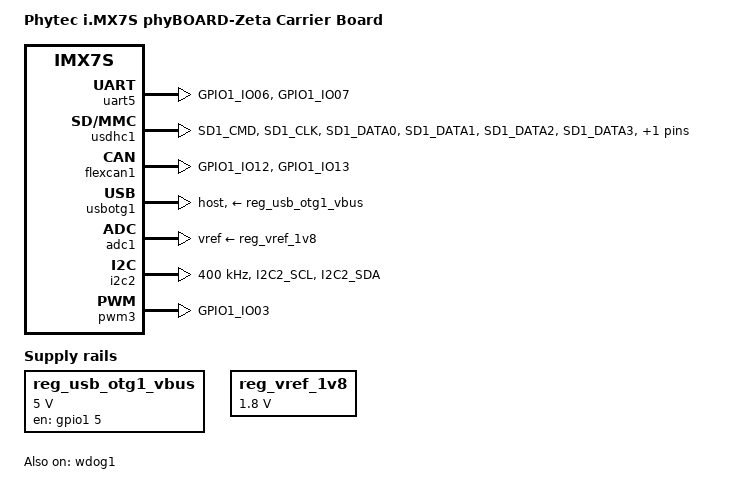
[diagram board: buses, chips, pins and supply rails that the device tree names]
/*
 * Copyright (C) 2015 PHYTEC America, LLC
 *
 * This program is free software; you can redistribute it and/or modify
 * it under the terms of the GNU General Public License version 2 as
 * published by the Free Software Foundation.
 *
 *
 * This file configures the interfaces supported by imx7 Solo on carrier
 * board PBA-C-09.
 *
 */

/ {
	model = "Phytec i.MX7S phyBOARD-Zeta Carrier Board";
	compatible = "phytec,imx7s-pba-c-09", "phytec,imx7-phycore-som", "fsl,imx7s";

	regulators {
		compatible = "simple-bus";
		#address-cells = <1>;
		#size-cells = <0>;

		reg_usb_otg1_vbus: regulator@0 {
			compatible = "regulator-fixed";
			reg = <0>;
			regulator-name = "usb_otg1_vbus";
			regulator-min-microvolt = <5000000>;
			regulator-max-microvolt = <5000000>;
			gpio = <&gpio1 5 GPIO_ACTIVE_HIGH>;
			enable-active-high;
		};

		reg_vref_1v8: regulator@2 {
			compatible = "regulator-fixed";
			reg = <2>;
			regulator-name = "vref-1v8";
			regulator-min-microvolt = <1800000>;
			regulator-max-microvolt = <1800000>;
		};

		/* For display PEB-AV-02 */
		backlight: backlight {
			compatible = "pwm-backlight";
			pwms = <&pwm3 0 5000000>;
			enable-gpios = <&gpio1 1 0>;
			status = "disabled";
		};

		reg_wlan: regulator-wlan {
			compatible = "regulator-fixed";
			pinctrl-names = "default";
			pinctrl-0 = <&pinctrl_wl_reg_on>;
			regulator-name = "wlan";
			gpio = <&gpio4 17 GPIO_ACTIVE_HIGH>;
			status = "disabled";
		};

		reg_bt: regulator-bt {
			compatible = "regulator-fixed";
			pinctrl-names = "default";
			pinctrl-0 = <&pinctrl_bt_reg_on>;
			regulator-name = "bt";
			gpio = <&gpio4 18 GPIO_ACTIVE_HIGH>;
			status = "disabled";
		};

		/* Enable if R9 is populated. Conflicts with userbtn2 on PEB-EVAL-02 */
		/*
		reg_can1_3v3: regulator@2 {
			compatible = "regulator-fixed";
			reg = <2>;
			regulator-name = "can1-3v3";
			regulator-min-microvolt = <3300000>;
			regulator-max-microvolt = <3300000>;
			gpio = <&gpio5 2 GPIO_ACTIVE_HIGH>;
			enable-active-high;
		};
		*/
	};
};

&iomuxc {
	pinctrl-names = "default";
	pinctrl-0 = <&pinctrl_hog_1 &pinctrl_hog_2 &pinctrl_hog_lcd>;

	imx7d-phycore {
		pinctrl_hog_2: hoggrp-2 {
			fsl,pins = <
				MX7D_PAD_SD1_CD_B__GPIO5_IO0		0x59 /* SD1 CD */
				MX7D_PAD_EPDC_DATA10__GPIO2_IO10	0x59 /* User Button */
				MX7D_PAD_EPDC_DATA13__GPIO2_IO13	0x39 /* Boot Circuit Buffer Enable
										5K pull-up  */
			>;
		};

		pinctrl_usdhc1: usdhc1grp {
			fsl,pins = <
				MX7D_PAD_SD1_CMD__SD1_CMD		0x59
				MX7D_PAD_SD1_CLK__SD1_CLK		0x19
				MX7D_PAD_SD1_DATA0__SD1_DATA0		0x59
				MX7D_PAD_SD1_DATA1__SD1_DATA1		0x59
				MX7D_PAD_SD1_DATA2__SD1_DATA2		0x59
				MX7D_PAD_SD1_DATA3__SD1_DATA3		0x59
			>;
		};

		pinctrl_flexcan1: flexcan1grp {
			fsl,pins = <
				MX7D_PAD_GPIO1_IO12__FLEXCAN1_RX	0x5a
				MX7D_PAD_GPIO1_IO13__FLEXCAN1_TX	0x5a
			>;
		};

		pinctrl_i2c4: i2c4grp {
			fsl,pins = <
				MX7D_PAD_I2C4_SCL__I2C4_SCL	0x4000007e
				MX7D_PAD_I2C4_SDA__I2C4_SDA	0x4000007e
			>;
		};
	};
};

&iomuxc_lpsr {
	pinctrl-names = "default";
	pinctrl-0 = <&pinctrl_hog_lpsr_1 &pinctrl_hog_lpsr_lcd>;

	imx7d-phycore {
		pinctrl_hog_lpsr_1: hoggrp-lpsr_1 {
			fsl,pins = <
				MX7D_PAD_GPIO1_IO05__GPIO1_IO5		0x14 /* USB1 pwr */
			>;
		};

		pinctrl_uart5: uart5grp {
			fsl,pins = <
				MX7D_PAD_GPIO1_IO06__UART5_DCE_RX	0x79
				MX7D_PAD_GPIO1_IO07__UART5_DCE_TX	0x79
			>;
		};

		pinctrl_wdog: wdoggrp {
			fsl,pins = <
				MX7D_PAD_GPIO1_IO00__WDOD1_WDOG_B	0x74
			>;
		};
	};
};

&uart5 {
	pinctrl-names = "default";
	pinctrl-0 = <&pinctrl_uart5>;
	assigned-clocks = <&clks IMX7D_UART5_ROOT_SRC>;
	assigned-clock-parents = <&clks IMX7D_OSC_24M_CLK>;
	status = "okay";
};

&usdhc1 {
	pinctrl-names = "default";
	pinctrl-0 = <&pinctrl_usdhc1>;
	cd-gpios = <&gpio5 0 GPIO_ACTIVE_LOW>;
	no-1-8-v; /* Fixed voltage supply, doesn't support vsel */
	enable-sdio-wakeup;
	keep-power-in-suspend;
	status = "okay";
};

&flexcan1 {
	pinctrl-names = "default";
	pinctrl-0 = <&pinctrl_flexcan1>;
	/* Enable the following if SD1_RESET_B is used to enable/disable CAN xceiver
	 *  xceiver-supply = <&reg_can1_3v3>;
	 */
	status = "okay";
};

&usbotg1 {
	vbus-supply = <&reg_usb_otg1_vbus>;
	dr_mode = "host";
	status = "okay";
};

&wdog1 {
	pinctrl-names = "default";
	pinctrl-0 = <&pinctrl_wdog>;
	fsl,ext-reset-output;
	status = "okay";
};

&adc1 {
	vref-supply = <&reg_vref_1v8>;
	status = "okay";
};

&i2c4 {
	pinctrl-names = "default";
	pinctrl-0 = <&pinctrl_i2c4>;
	clock-frequency = <100000>;
	status = "disabled";
};


/* DTS pinmuxing and bindings for LCD adapter PEB-AV-02 */

&iomuxc {
	imx7d-phycore {
		pinctrl_hog_lcd: hog_lcdgrp {
			fsl,pins = <
				MX7D_PAD_LCD_RESET__GPIO3_IO4		0x79
			>;
		};

		pinctrl_i2c2: i2c2grp {
			fsl,pins = <
				MX7D_PAD_I2C2_SCL__I2C2_SCL		0x4000007e
				MX7D_PAD_I2C2_SDA__I2C2_SDA		0x4000007e
			>;
		};

		pinctrl_edt_ts_irq: tsirqgrp {
			fsl,pins = <
				MX7D_PAD_EPDC_DATA14__GPIO2_IO14	0x59
			>;
		};
	};
};

&iomuxc_lpsr {
	imx7d-phycore {
		pinctrl_pwm3: pwmgrp {
			fsl,pins = <
				MX7D_PAD_GPIO1_IO03__PWM3_OUT		0x30
			>;
		};

		pinctrl_hog_lpsr_lcd: hoggrp_lpsr_lcd {
			fsl,pins = <
				MX7D_PAD_GPIO1_IO01__GPIO1_IO1		0x59
			>;
		};
	};
};

&i2c2 {
	clock-frequency = <400000>;
	pinctrl-names = "default";
	pinctrl-0 = <&pinctrl_i2c2>;
	status = "okay";

	ft5406: ft5406@38 {
		pinctrl-names = "default";
		pinctrl-0 = <&pinctrl_edt_ts_irq>;
		interrupt-parent = <&gpio2>;
		interrupts = <14 0>;
		reset-gpios = <&gpio3 4 GPIO_ACTIVE_LOW>;
		status = "disabled";
	};
};

&pwm3 {
	pinctrl-names = "default";
	pinctrl-0 = <&pinctrl_pwm3>;
	status = "okay";
};

/* DTS pinmuxing and bindings for WiFi/BT adapter PEB-WLBT-03 */
&iomuxc {
	imx7d-phycore {
		pinctrl_wl_reg_on: wl_reg_ongrp {
			fsl,pins = <
				MX7D_PAD_ECSPI1_MOSI__GPIO4_IO17	0x14
			>;
		};

		pinctrl_bt_reg_on: bt_reg_ongrp {
			fsl,pins = <
				MX7D_PAD_ECSPI1_MISO__GPIO4_IO18	0x14
			>;
		};

		pinctrl_usdhc2: usdhc2grp {
			fsl,pins = <
				MX7D_PAD_SD2_CMD__SD2_CMD		0x59
				MX7D_PAD_SD2_CLK__SD2_CLK		0x19
				MX7D_PAD_SD2_DATA0__SD2_DATA0		0x59
				MX7D_PAD_SD2_DATA1__SD2_DATA1		0x59
				MX7D_PAD_SD2_DATA2__SD2_DATA2		0x59
				MX7D_PAD_SD2_DATA3__SD2_DATA3		0x59
			>;
		};

		pinctrl_uart7: uart7grp {
			fsl,pins = <
				MX7D_PAD_ECSPI2_MOSI__UART7_DTE_RX	0x79
				MX7D_PAD_ECSPI2_SCLK__UART7_DTE_TX	0x79
				MX7D_PAD_ECSPI2_MISO__UART7_DTE_CTS	0x79
				MX7D_PAD_ECSPI2_SS0__UART7_DTE_RTS	0x79
			>;
		};
	};

};

&usdhc2 {
	#address-cells = <1>;
	#size-cells = <0>;
	pinctrl-names = "default";
	pinctrl-0 = <&pinctrl_usdhc2>;
	status = "disabled";
};

&uart7 {
	pinctrl-names = "default";
	pinctrl-0 = <&pinctrl_uart7>;
	assigned-clocks = <&clks IMX7D_UART7_ROOT_SRC>;
	assigned-clock-parents = <&clks IMX7D_PLL_SYS_MAIN_240M_CLK>;
	status = "disabled";
};
